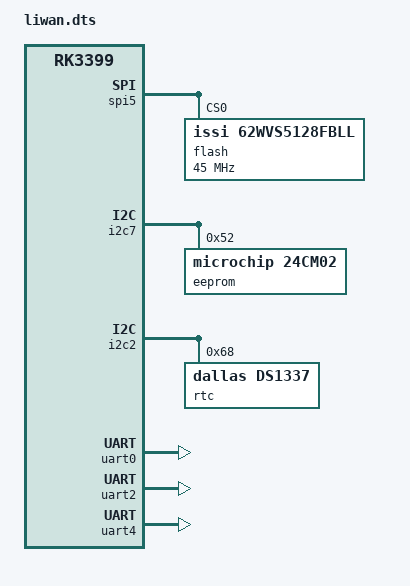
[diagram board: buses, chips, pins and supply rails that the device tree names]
/dts-v1/;
/plugin/;

/ {
	compatible = "radxa,rockpi4c", "radxa,rockpi4", "rockchip,rk3399";

	fragment@0 {
		target = <&spi5>;

		__overlay__ {
			status = "okay";
			pinctrl-names = "default";
			pinctrl-0 = <&spi5_clk &spi5_tx &spi5_rx &spi5_cs0>;

			flash: is6xwvs5128@0 {
				#address-cells = <1>;
				#size-cells = <1>;
				compatible = "issi,62wvs5128fbll";
				reg = <0>;
				rt = "true";
				spi-cpol;
				spi-cpha;
				spi-max-frequency = <45000000>;
				spi-max-write-frequency = <45000000>;
				spi-max-read-frequency = <45000000>;
			};
		};
	};

	fragment@1 {
		target = <&i2c7>;

		__overlay__ {
			status = "okay";
			pinctrl-names = "default";
			pinctrl-0 = <&i2c7_xfer>;

			eeprom@52 {
				compatible = "microchip,24cm02", "atmel,24c02";
				status = "okay";
				reg = <0x52>;
			};
		};
	};

	fragment@2 {
		target = <&i2c2>;

		__overlay__ {
			status = "okay";
			pinctrl-names = "default";
			pinctrl-0 = <&i2c2_xfer>;

			rtc@68 {
				compatible = "dallas,ds1337";
				status = "okay";
				reg = <0x68>;
			};
		};
	};

	fragment@3 {
		target = <&uart0>;

		__overlay__ {
			status = "okay";
			pinctrl-names = "default";
			pinctrl-0 = <&uart0_xfer &uart0_cts &uart0_rts>;
		};
	};

	fragment@4 {
		target = <&uart2>;

		__overlay__ {
			status = "okay";
			pinctrl-names = "default";
			pinctrl-0 = <&uart2c_xfer>;
		};
	};

	fragment@5 {
		target = <&uart4>;

		__overlay__ {
			status = "okay";
			pinctrl-names = "default";
			pinctrl-0 = <&uart4_xfer>;
		};
	};
};
